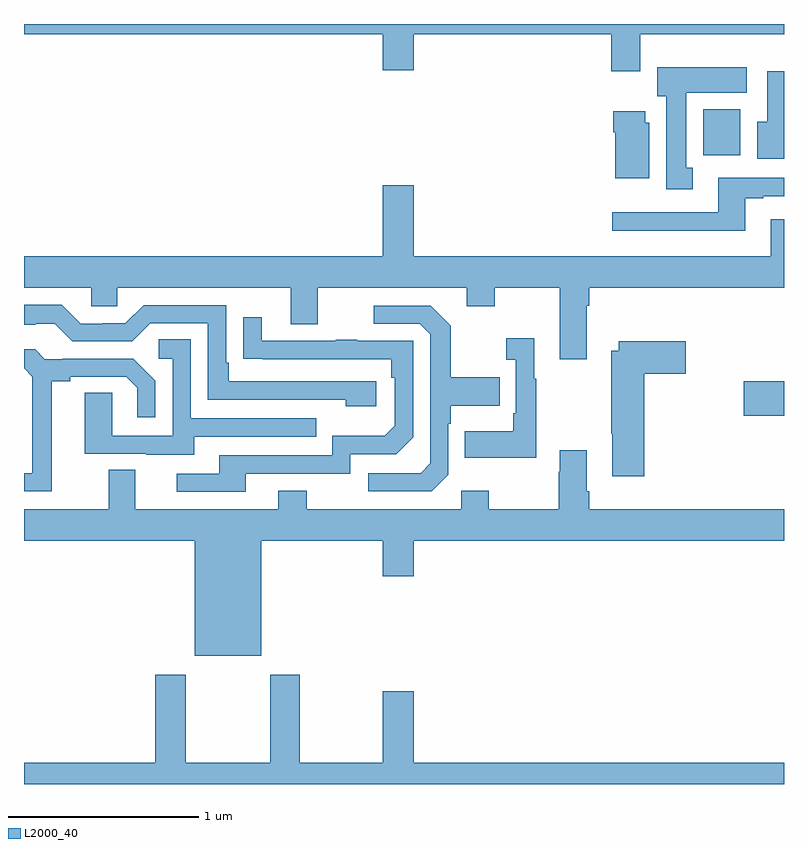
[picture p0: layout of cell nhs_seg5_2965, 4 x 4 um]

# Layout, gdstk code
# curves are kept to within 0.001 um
import gdstk
lib = gdstk.Library(unit=1e-6, precision=1e-09)
def R(c, l, rs):  # rectangles x0, y0, x1, y1
    for r in rs: c.add(gdstk.rectangle(r[:2], r[2:], *l))
def P(c, l, *ps):  # polygons
    for p in ps: c.add(gdstk.Polygon(p, *l))
L2000_40 = (2000, 40)

nhs_seg5_2965 = lib.new_cell('nhs_seg5_2965')
R(nhs_seg5_2965, L2000_40, [(286.788,870.737,287,870.92), (286.574,872.108,286.771,872.35)])
P(nhs_seg5_2965, L2000_40, [(286.243,872.744),(287,872.744),(287,872.799),(283,872.799),(283,872.744),(284.888,872.744),(284.888,872.556),(285.052,872.556),(285.052,872.744),(286.091,872.744),(286.091,872.55),(286.243,872.55)],
  [(286.519,872.042),(286.486,872.042),(286.486,872.438),(286.804,872.438),(286.804,872.572),(286.334,872.572),(286.334,872.418),(286.379,872.418),(286.379,871.929),(286.519,871.929)],
  [(287,872.551),(286.913,872.551),(286.913,872.284),(286.859,872.284),(286.859,872.091),(287,872.091)],
  [(286.291,872.28),(286.27,872.28),(286.27,872.341),(286.1,872.341),(286.1,872.228),(286.112,872.228),(286.112,871.988),(286.291,871.988)],
  [(286.795,871.881),(286.891,871.881),(286.891,871.893),(287,871.893),(287,871.989),(286.655,871.989),(286.655,871.809),(286.095,871.809),(286.095,871.712),(286.795,871.712)],
  [(285.961,871.316),(285.974,871.316),(285.974,871.412),(287,871.412),(287,871.771),(286.931,871.771),(286.931,871.576),(285.052,871.576),(285.052,871.951),(284.888,871.951),(284.888,871.576),(283,871.576),(283,871.412),(283.353,871.412),(283.353,871.314),(283.491,871.314),(283.491,871.412),(284.405,871.412),(284.405,871.218),(284.545,871.218),(284.545,871.412),(285.329,871.412),(285.329,871.313),(285.477,871.313),(285.477,871.412),(285.821,871.412),(285.821,871.035),(285.961,871.035)],
  [(284.854,870.918),(284.077,870.918),(284.077,871.015),(284.064,871.015),(284.064,871.32),(283.629,871.32),(283.533,871.224),(283.415,871.224),(283.415,871.221),(283.299,871.221),(283.199,871.321),(283,871.321),(283,871.217),(283.061,871.217),(283.061,871.221),(283.161,871.221),(283.254,871.128),(283.569,871.128),(283.665,871.224),(283.968,871.224),(283.968,870.822),(284.693,870.822),(284.693,870.788),(284.854,870.788)],
  [(285.234,870.426),(285.234,870.695),(285.247,870.695),(285.247,870.791),(285.503,870.791),(285.503,870.939),(285.247,870.939),(285.247,871.211),(285.141,871.317),(284.841,871.317),(284.841,871.221),(285.084,871.221),(285.138,871.167),(285.138,870.486),(285.087,870.435),(284.811,870.435),(284.811,870.339),(285.147,870.339)],
  [(284.167,870.432),(284.718,870.432),(284.718,870.534),(284.958,870.534),(285.048,870.624),(285.048,871.131),(284.753,871.131),(284.753,871.136),(284.641,871.136),(284.641,871.131),(284.251,871.131),(284.251,871.255),(284.155,871.255),(284.155,871.036),(284.932,871.035),(284.932,870.938),(284.952,870.938),(284.952,870.684),(284.899,870.631),(284.622,870.631),(284.622,870.528),(284.027,870.528),(284.027,870.432),(283.803,870.432),(283.803,870.336),(284.167,870.336)],
  [(285.697,870.931),(285.685,870.931),(285.685,871.144),(285.537,871.144),(285.537,871.031),(285.588,871.031),(285.588,870.751),(285.576,870.751),(285.576,870.655),(285.319,870.655),(285.319,870.515),(285.697,870.515)],
  [(283.897,870.627),(284.537,870.627),(284.537,870.723),(283.878,870.723),(283.878,871.139),(283.71,871.139),(283.71,871.038),(283.782,871.038),(283.782,870.633),(283.464,870.633),(283.464,870.857),(283.319,870.857),(283.319,870.537),(283.643,870.537),(283.643,870.533),(283.897,870.533)],
  [(286.265,870.959),(286.483,870.959),(286.483,871.129),(286.13,871.129),(286.13,871.078),(286.09,871.078),(286.09,870.643),(286.097,870.643),(286.097,870.42),(286.265,870.42)],
  [(283.147,870.92),(283.243,870.92),(283.243,870.942),(283.538,870.942),(283.595,870.885),(283.595,870.729),(283.692,870.729),(283.692,870.922),(283.576,871.038),(283.204,871.038),(283.204,871.035),(283.11,871.035),(283.058,871.087),(283,871.087),(283,870.986),(283.043,870.943),(283.043,870.435),(283,870.435),(283,870.339),(283.147,870.339)],
  [(285.961,870.34),(285.961,870.556),(285.821,870.556),(285.821,870.443),(285.814,870.443),(285.814,870.244),(285.447,870.244),(285.447,870.343),(285.3,870.343),(285.3,870.244),(284.487,870.244),(284.487,870.343),(284.339,870.343),(284.339,870.244),(283.585,870.244),(283.585,870.452),(283.445,870.452),(283.445,870.244),(283,870.244),(283,870.08),(283.898,870.08),(283.898,869.474),(284.248,869.474),(284.248,870.08),(284.888,870.08),(284.888,869.892),(285.052,869.892),(285.052,870.08),(287,870.08),(287,870.244),(285.974,870.244),(285.974,870.34)],
  [(287,868.912),(285.052,868.912),(285.052,869.287),(284.888,869.287),(284.888,868.912),(284.451,868.912),(284.451,869.374),(284.296,869.374),(284.296,868.912),(283.851,868.912),(283.851,869.374),(283.691,869.374),(283.691,868.912),(283,868.912),(283,868.799),(287,868.799)])

lib.write_gds('nhs_seg5_2965.gds')
